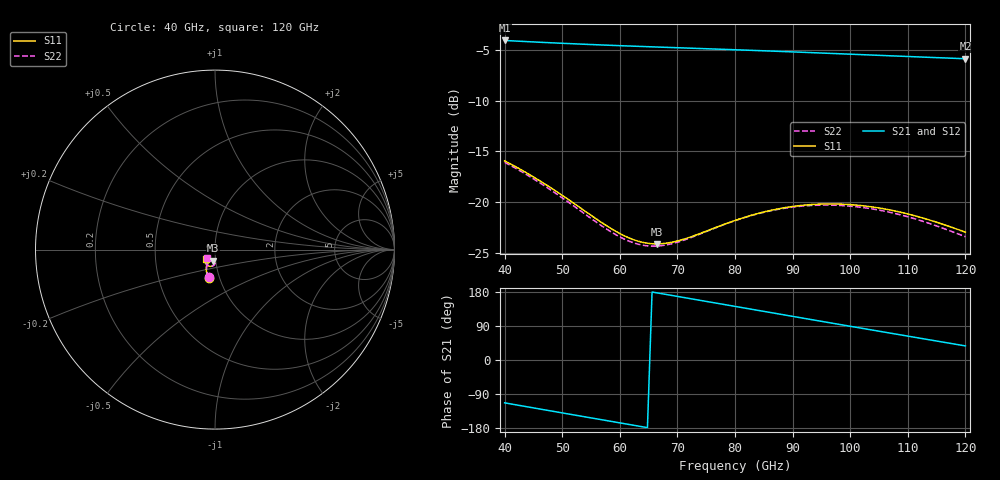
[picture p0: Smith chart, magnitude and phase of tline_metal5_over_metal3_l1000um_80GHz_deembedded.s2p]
! Created with skrf 2.2.0 (http://scikit-rf.org).
# GHz S DB R 50.0
! Port[1] = P1
! Port[2] = P2
!freq dBS11 angS11 dBS21 angS21 dBS12 angS12 dBS22 angS22
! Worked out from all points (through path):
!   101 points, 40 GHz to 120 GHz, reference 50 ohm
!   highest |S21| = -4.06 dB at 40 GHz (marker M1); lowest = -5.9 dB at 120 GHz (marker M2)
!   group delay of S21, straight-line fit = 7.29 ps
!   lowest |S11| = -24.1 dB at 66.4 GHz (marker M3), VSWR 1.13, Z = 48.4 - j5.91 ohm
!   |S11| at or under -10 dB: start of sweep to end of sweep
!   |S22| runs from -24.3 to -16.1 dB; largest |S21 - S12| = 7e-14
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40  -15.93 -102.3  -4.06 -113.0  -4.06 -113.0  -16.07 -102.1
43.2  -16.92 -107.9  -4.15 -121.6  -4.15 -121.6  -17.09 -107.7
47.2  -18.29 -113.6  -4.26 -132.2  -4.26 -132.2  -18.50 -113.2
53.6  -20.75 -118.1  -4.42 -149.1  -4.42 -149.1  -21.04 -117.2
57.6  -22.29 -116.7  -4.52 -159.6  -4.52 -159.6  -22.62 -115.3
60.8  -23.33 -112.8  -4.59 -168.0  -4.59 -168.0  -23.66 -110.8
64  -23.98 -106.9  -4.65 -176.4  -4.65 -176.4  -24.26 -104.4
66.4  -24.12 -102.1  -4.70 177.3  -4.70 177.3  -24.34 -99.3
67.2  -24.11 -100.5  -4.72 175.2  -4.72 175.2  -24.30 -97.7
70.4  -23.78 -95.3  -4.78 166.8  -4.78 166.8  -23.89 -92.6
73.6  -23.17 -92.3  -4.84 158.3  -4.84 158.3  -23.23 -89.9
80  -21.81 -92.6  -4.97 141.5  -4.97 141.5  -21.83 -90.8
84  -21.12 -95.7  -5.06 131.0  -5.06 131.0  -21.15 -94.2
87.2  -20.70 -99.2  -5.12 122.5  -5.12 122.5  -20.74 -97.9
90.4  -20.40 -103.2  -5.19 114.1  -5.19 114.1  -20.47 -102.1
93.6  -20.23 -107.5  -5.26 105.8  -5.26 105.8  -20.32 -106.5
96.8  -20.18 -111.9  -5.34 97.4  -5.34 97.4  -20.30 -111.1
100  -20.25 -116.4  -5.41 89.0  -5.41 89.0  -20.40 -115.7
103.2  -20.43 -120.7  -5.48 80.7  -5.48 80.7  -20.62 -120.0
107.2  -20.81 -125.6  -5.58 70.3  -5.58 70.3  -21.05 -125.0
113.6  -21.74 -131.8  -5.72 53.7  -5.72 53.7  -22.08 -131.2
120  -22.96 -134.7  -5.86 37.2  -5.86 37.2  -23.42 -133.7
